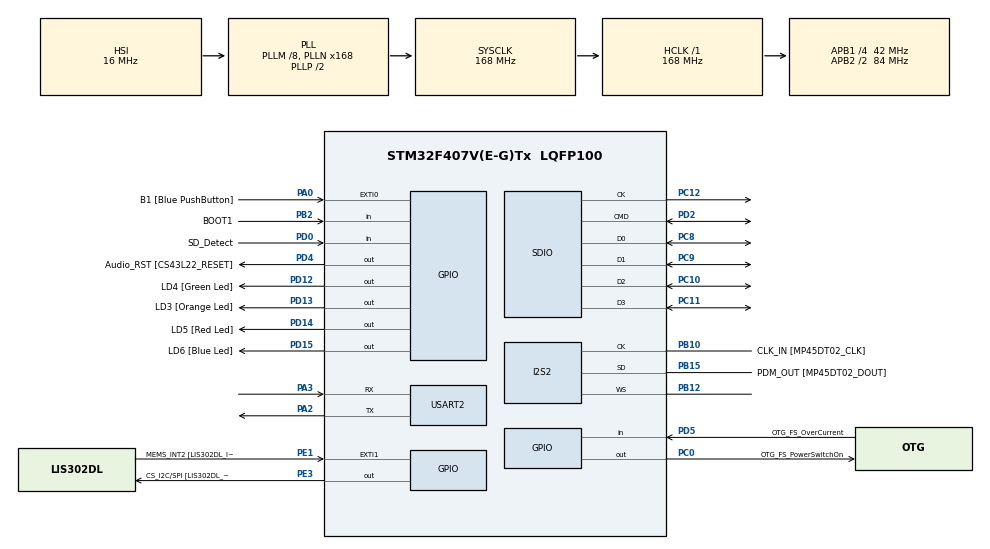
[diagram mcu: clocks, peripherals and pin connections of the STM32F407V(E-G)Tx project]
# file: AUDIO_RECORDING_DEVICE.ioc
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Dma.Request0=SPI2_RX
Dma.Request1=USART2_TX
Dma.SPI2_RX.0.Direction=DMA_PERIPH_TO_MEMORY
Dma.SPI2_RX.0.FIFOMode=DMA_FIFOMODE_DISABLE
Dma.SPI2_RX.0.Instance=DMA1_Stream3
Dma.SPI2_RX.0.MemDataAlignment=DMA_MDATAALIGN_HALFWORD
Dma.SPI2_RX.0.MemInc=DMA_MINC_ENABLE
Dma.SPI2_RX.0.Mode=DMA_CIRCULAR
Dma.SPI2_RX.0.PeriphDataAlignment=DMA_PDATAALIGN_HALFWORD
Dma.SPI2_RX.0.PeriphInc=DMA_PINC_DISABLE
Dma.SPI2_RX.0.Priority=DMA_PRIORITY_LOW
Dma.USART2_TX.1.Direction=DMA_MEMORY_TO_PERIPH
Dma.USART2_TX.1.FIFOMode=DMA_FIFOMODE_DISABLE
Dma.USART2_TX.1.Instance=DMA1_Stream6
Dma.USART2_TX.1.MemDataAlignment=DMA_MDATAALIGN_BYTE
Dma.USART2_TX.1.MemInc=DMA_MINC_ENABLE
Dma.USART2_TX.1.Mode=DMA_NORMAL
Dma.USART2_TX.1.PeriphDataAlignment=DMA_PDATAALIGN_BYTE
Dma.USART2_TX.1.PeriphInc=DMA_PINC_DISABLE
Dma.USART2_TX.1.Priority=DMA_PRIORITY_LOW
FATFS.BSP.number=1
FATFS._MAX_SS=2048
FATFS0.BSP.STBoard=false
FATFS0.BSP.api=Unknown
FATFS0.BSP.i2caddr=0
FATFS0.BSP.instance=PD0
FATFS0.BSP.ip=GPIO
FATFS0.BSP.mode=Input
FATFS0.BSP.name=Detect_SDIO
FATFS0.BSP.solution=PD0
I2S2.AudioFreq=I2S_AUDIOFREQ_32K
I2S2.DataFormat=I2S_DATAFORMAT_16B_EXTENDED
I2S2.ErrorAudioFreq=-0.26 %
I2S2.FullDuplexMode=I2S_FULLDUPLEXMODE_DISABLE
I2S2.Instance=SPI$Index
I2S2.Mode=I2S_MODE_MASTER_RX
I2S2.RealAudioFreq=31.914 KHz
I2S2.VirtualMode=I2S_MODE_MASTER
Mcu.Family=STM32F4
Mcu.Name=STM32F407V(E-G)Tx
Mcu.Package=LQFP100
NVIC.DMA1_Stream3_IRQn=true\:0\:0\:false\:false\:true\:false\:true\:true
NVIC.DMA1_Stream6_IRQn=true\:0\:0\:false\:false\:true\:false\:true\:true
NVIC.EXTI0_IRQn=true\:0\:0\:false\:false\:true\:true\:true\:true
NVIC.PriorityGroup=NVIC_PRIORITYGROUP_0
NVIC.USART2_IRQn=true\:0\:0\:false\:false\:true\:true\:true\:true
PA0-WKUP.GPIO_Label=B1 [Blue PushButton]
PA0-WKUP.Signal=GPXTI0
PA10.GPIO_Label=OTG_FS_ID
PA10.GPIO_Mode=GPIO_MODE_AF_PP
PA10.GPIO_PuPd=GPIO_NOPULL
PA10.GPIO_Speed=GPIO_SPEED_FREQ_LOW
PA10.Signal=USB_OTG_FS_ID
PA11.GPIO_Label=OTG_FS_DM
PA11.GPIO_Mode=GPIO_MODE_AF_PP
PA11.GPIO_PuPd=GPIO_NOPULL
PA11.GPIO_Speed=GPIO_SPEED_FREQ_LOW
PA11.Signal=USB_OTG_FS_DM
PA12.GPIO_Label=OTG_FS_DP
PA12.GPIO_Mode=GPIO_MODE_AF_PP
PA12.GPIO_PuPd=GPIO_NOPULL
PA12.GPIO_Speed=GPIO_SPEED_FREQ_LOW
PA12.Signal=USB_OTG_FS_DP
PA13.GPIO_Label=SWDIO
PA13.Signal=SYS_JTMS-SWDIO
PA14.GPIO_Label=SWCLK
PA14.Signal=SYS_JTCK-SWCLK
PA2.Mode=Asynchronous
PA2.Signal=USART2_TX
PA3.Mode=Asynchronous
PA3.Signal=USART2_RX
PA4.GPIO_Label=I2S3_WS [CS43L22_LRCK]
PA4.GPIO_Mode=GPIO_MODE_AF_PP
PA4.GPIO_PuPd=GPIO_NOPULL
PA4.GPIO_Speed=GPIO_SPEED_FREQ_LOW
PA4.Signal=I2S3_WS
PA5.GPIO_Label=SPI1_SCK [LIS302DL_SCL/SPC]
PA5.GPIO_Mode=GPIO_MODE_AF_PP
PA5.GPIO_PuPd=GPIO_NOPULL
PA5.GPIO_Speed=GPIO_SPEED_FREQ_LOW
PA5.Signal=SPI1_SCK
PA6.GPIO_Label=SPI1_MISO [LIS302DL_SDO]
PA6.GPIO_Mode=GPIO_MODE_AF_PP
PA6.GPIO_PuPd=GPIO_NOPULL
PA6.GPIO_Speed=GPIO_SPEED_FREQ_LOW
PA6.Signal=SPI1_MISO
PA7.GPIO_Label=SPI1_MOSI [LIS302DL_SDA/SDI/SDO]
PA7.GPIO_Mode=GPIO_MODE_AF_PP
PA7.GPIO_PuPd=GPIO_NOPULL
PA7.GPIO_Speed=GPIO_SPEED_FREQ_LOW
PA7.Signal=SPI1_MOSI
PA9.GPIO_Label=VBUS_FS
PA9.GPIO_Mode=GPIO_MODE_INPUT
PA9.GPIO_PuPd=GPIO_NOPULL
PA9.Signal=USB_OTG_FS_VBUS
PB10.GPIO_Label=CLK_IN [MP45DT02_CLK]
PB10.GPIO_Mode=GPIO_MODE_AF_PP
PB10.GPIO_PuPd=GPIO_NOPULL
PB10.GPIO_Speed=GPIO_SPEED_FREQ_LOW
PB10.Mode=Half_Duplex_Master
PB10.Signal=I2S2_CK
PB12.Mode=Half_Duplex_Master
PB12.Signal=I2S2_WS
PB15.GPIO_Label=PDM_OUT [MP45DT02_DOUT]
PB15.GPIO_Mode=GPIO_MODE_AF_PP
PB15.GPIO_PuPd=GPIO_NOPULL
PB15.GPIO_Speed=GPIO_SPEED_FREQ_LOW
PB15.Mode=Half_Duplex_Master
PB15.Signal=I2S2_SD
PB2.GPIO_Label=BOOT1
PB2.GPIO_Mode=GPIO_MODE_INPUT
PB2.GPIO_PuPd=GPIO_NOPULL
PB2.Signal=GPIO_Input
PB3.GPIO_Label=SWO
PB3.Signal=SYS_JTDO-SWO
PB6.GPIO_Label=Audio_SCL [CS43L22_SCL]
PB6.GPIO_Mode=GPIO_MODE_AF_OD
PB6.GPIO_PuPd=GPIO_NOPULL
PB6.GPIO_Speed=GPIO_SPEED_FREQ_LOW
PB6.Signal=I2C1_SCL
PB9.GPIO_Label=Audio_SDA [CS43L22_SDA]
PB9.GPIO_Mode=GPIO_MODE_AF_OD
PB9.GPIO_PuPd=GPIO_NOPULL
PB9.GPIO_Speed=GPIO_SPEED_FREQ_LOW
PB9.Signal=I2C1_SDA
PC0.GPIO_Label=OTG_FS_PowerSwitchOn
PC0.GPIO_PuPd=GPIO_NOPULL
PC0.GPIO_Speed=GPIO_SPEED_FREQ_LOW
PC0.PinState=GPIO_PIN_SET
PC0.Signal=GPIO_Output
PC10.Mode=SD_4_bits_Wide_bus
PC10.Signal=SDIO_D2
PC11.Mode=SD_4_bits_Wide_bus
PC11.Signal=SDIO_D3
PC12.Mode=SD_4_bits_Wide_bus
PC12.Signal=SDIO_CK
PC14-OSC32_IN.GPIO_Label=PC14-OSC32_IN
PC14-OSC32_IN.Signal=RCC_OSC32_IN
PC15-OSC32_OUT.GPIO_Label=PC15-OSC32_OUT
PC15-OSC32_OUT.Signal=RCC_OSC32_OUT
PC7.GPIO_Label=I2S3_MCK [CS43L22_MCLK]
PC7.GPIO_Mode=GPIO_MODE_AF_PP
PC7.GPIO_PuPd=GPIO_NOPULL
PC7.GPIO_Speed=GPIO_SPEED_FREQ_LOW
PC7.Signal=I2S3_MCK
PC8.Mode=SD_4_bits_Wide_bus
PC8.Signal=SDIO_D0
PC9.Mode=SD_4_bits_Wide_bus
PC9.Signal=SDIO_D1
PD0.GPIO_Label=SD_Detect
PD0.Signal=GPIO_Input
PD12.GPIO_Label=LD4 [Green Led]
PD12.GPIO_PuPd=GPIO_NOPULL
PD12.GPIO_Speed=GPIO_SPEED_FREQ_LOW
PD12.Signal=GPIO_Output
PD13.GPIO_Label=LD3 [Orange Led]
PD13.GPIO_PuPd=GPIO_NOPULL
PD13.GPIO_Speed=GPIO_SPEED_FREQ_LOW
PD13.Signal=GPIO_Output
PD14.GPIO_Label=LD5 [Red Led]
PD14.GPIO_PuPd=GPIO_NOPULL
PD14.GPIO_Speed=GPIO_SPEED_FREQ_LOW
PD14.Signal=GPIO_Output
PD15.GPIO_Label=LD6 [Blue Led]
PD15.GPIO_PuPd=GPIO_NOPULL
PD15.GPIO_Speed=GPIO_SPEED_FREQ_LOW
PD15.Signal=GPIO_Output
PD2.Mode=SD_4_bits_Wide_bus
PD2.Signal=SDIO_CMD
PD4.GPIO_Label=Audio_RST [CS43L22_RESET]
PD4.GPIO_PuPd=GPIO_NOPULL
PD4.GPIO_Speed=GPIO_SPEED_FREQ_LOW
PD4.Signal=GPIO_Output
PD5.GPIO_Label=OTG_FS_OverCurrent
PD5.GPIO_Mode=GPIO_MODE_INPUT
PD5.GPIO_PuPd=GPIO_NOPULL
PD5.Signal=GPIO_Input
PE1.GPIO_Label=MEMS_INT2 [LIS302DL_INT2]
PE1.GPIO_ModeDefaultEXTI=GPIO_MODE_EVT_RISING
PE1.GPIO_PuPd=GPIO_NOPULL
PE1.Signal=GPXTI1
PE3.GPIO_Label=CS_I2C/SPI [LIS302DL_CS_I2C/SPI]
PE3.GPIO_PuPd=GPIO_NOPULL
PE3.GPIO_Speed=GPIO_SPEED_FREQ_LOW
PE3.Signal=GPIO_Output
PH0-OSC_IN.GPIO_Label=PH0-OSC_IN
PH0-OSC_IN.Signal=RCC_OSC_IN
PH1-OSC_OUT.GPIO_Label=PH1-OSC_OUT
PH1-OSC_OUT.Signal=RCC_OSC_OUT
ProjectManager.HeapSize=0x2000
ProjectManager.StackSize=0x4000
ProjectManager.TargetToolchain=STM32CubeIDE
RCC.48MHZClocksFreq_Value=48000000
RCC.AHBFreq_Value=168000000
RCC.APB1CLKDivider=RCC_HCLK_DIV4
RCC.APB1Freq_Value=42000000
RCC.APB1TimFreq_Value=84000000
RCC.APB2CLKDivider=RCC_HCLK_DIV2
RCC.APB2Freq_Value=84000000
RCC.APB2TimFreq_Value=168000000
RCC.CortexFreq_Value=168000000
RCC.HCLKFreq_Value=168000000
RCC.HSE_VALUE=8000000
RCC.HSI_VALUE=16000000
RCC.LSE_VALUE=32768
RCC.PLLM=8
RCC.PLLN=168
RCC.PLLQ=7
RCC.SYSCLKFreq_VALUE=168000000
RCC.SYSCLKSource=RCC_SYSCLKSOURCE_PLLCLK
RCC.VCOOutputFreq_Value=336000000
SDIO.ClockDiv=8
STMicroelectronics.X-CUBE-ALGOBUILD.1.3.0.LibraryCcDSPOoLibraryJjDSPOoLibrary=true
USART2.VirtualMode=VM_ASYNC
VP_FATFS_VS_SDIO.Mode=SDIO
VP_STMicroelectronics.X-CUBE-ALGOBUILD_VS_DSPOoLibraryJjLibrary_1.3.0_1.3.0.Mode=DSPOoLibraryJjLibrary
board=STM32F407G-DISC1

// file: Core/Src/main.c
/* USER CODE BEGIN Header */
/**
  ******************************************************************************
  * @file           : main.c
  * @brief          : Main program body
  ******************************************************************************
  * @attention
  *
  * Copyright (c) 2022 STMicroelectronics.
  * All rights reserved.
  *
  * This software is licensed under terms that can be found in the LICENSE file
  * in the root directory of this software component.
  * If no LICENSE file comes with this software, it is provided AS-IS.
  *
  ******************************************************************************
  */
/* USER CODE END Header */
#include "main.h"
#include "fatfs.h"

/* USER CODE BEGIN Includes */
#include "stdio.h"
#include "audio_sd.h"
#include "arm_math.h"
/* USER CODE END Includes */

 I2S_HandleTypeDef hi2s2;
DMA_HandleTypeDef hdma_spi2_rx;

SD_HandleTypeDef hsd;

UART_HandleTypeDef huart2;
DMA_HandleTypeDef hdma_usart2_tx;

/* USER CODE BEGIN PV */
int16_t data_i2s[WAV_WRITE_SAMPLE_COUNT];
float32_t mic1_data1[WAV_WRITE_SAMPLE_COUNT / 4],
	mic1_data2[WAV_WRITE_SAMPLE_COUNT / 4];
float32_t data_out_fft1[WAV_WRITE_SAMPLE_COUNT / 4],
	data_out_fft2[WAV_WRITE_SAMPLE_COUNT / 4];
volatile int16_t sample_i2s;
volatile uint8_t button_flag, start_stop_recording;
volatile uint8_t  half_i2s, full_i2s;
arm_rfft_fast_instance_f32 fft_audio_instance;
/* USER CODE END PV */

void SystemClock_Config(void);
static void MX_GPIO_Init(void);
static void MX_DMA_Init(void);
static void MX_I2S2_Init(void);
static void MX_SDIO_SD_Init(void);
static void MX_USART2_UART_Init(void);

int main(void)
{
  /* USER CODE BEGIN 1 */
uint8_t uart_counter;
  /* USER CODE END 1 */

  /* MCU Configuration--------------------------------------------------------*/

  /* Reset of all peripherals, Initializes the Flash interface and the Systick. */
  HAL_Init();

  /* Configure the system clock */
  SystemClock_Config();

  /* Initialize all configured peripherals */
  MX_GPIO_Init();
  MX_DMA_Init();
  MX_I2S2_Init();
  MX_SDIO_SD_Init();
  MX_FATFS_Init();
  MX_USART2_UART_Init();
  /* USER CODE BEGIN 2 */
  HAL_I2S_DMAStop(&hi2s2);
  HAL_Delay(500);
  //	Initializing FFT. We apply FFT for the first microphone and half of the buffer.
  //	Therefore we divide by four: WAV_WRITE_SAMPLE_COUNT / 4
  arm_rfft_fast_init_f32(&fft_audio_instance, WAV_WRITE_SAMPLE_COUNT / 4);
  /* USER CODE END 2 */

  /* Infinite loop */
  /* USER CODE BEGIN WHILE */
  while (1)
  {
	  // when button is pressed
	  if(button_flag)
	  {
		  //	stop recording: stop I2S DMA
		  if(start_stop_recording)
		  {
			  HAL_I2S_DMAStop(&hi2s2);
			  start_stop_recording = 0;
			  half_i2s = 0;
			  full_i2s = 0;
			  printf("stop recording \n");
		  }

		  // start recording: start DMA
		  else
		  {
			  start_stop_recording = 1;
			  printf("start_recording");
			  HAL_I2S_Receive_DMA(&hi2s2, (uint16_t *)data_i2s, sizeof(data_i2s)/2);
		  }
		  button_flag = 0;
	  }
    /* USER CODE END WHILE */

    /* USER CODE BEGIN 3 */
	  // When half of the buffer is full
	  if(start_stop_recording == 1 && half_i2s == 1)
	  {
		  // extracting the data of the first microphone
		  for(int i = 0; i < WAV_WRITE_SAMPLE_COUNT / 4; i++ )
		  {
			  mic1_data1[i] = (float32_t)data_i2s[i * 2];
		  }
		  // apply FFT
		  arm_rfft_fast_f32(&fft_audio_instance, mic1_data1, data_out_fft1, 0);
		  // extract absolute values by computing the magnitude of the complex numbers
		  // Pay attention that after this operation, half of the buffer possesses the magnitudes
		  arm_cmplx_mag_f32(
				  data_out_fft1,
				  data_out_fft1,
				  WAV_WRITE_SAMPLE_COUNT / 8);
		  // bias removal
		  data_out_fft1[0] = 0;
		  if(full_i2s == 1)
		  {
			  printf("d \n");
		  }
		  uart_counter++;
		  //	setting ">>>>" to indicate the end of the buffer
	  	  data_out_fft1[WAV_WRITE_SAMPLE_COUNT / 8] = ('>'<<24|'>'<<16|'>'<<8|'>');

	  if (uart_counter == 30)
		  {
			  printf("uart start\n");
			  uart_counter = 0;
			  //	sending only half of the buffer
			  HAL_UART_Transmit_DMA(&huart2, (uint8_t *)&data_out_fft1, sizeof(data_out_fft1) / 2 + 4);
		  }
		  half_i2s = 0;
	  }

	  //	THe buffer is full
	  if(start_stop_recording == 1 && full_i2s == 1)
	  {
		  // extracting the data of the first microphone
		  for(int i = 0; i < WAV_WRITE_SAMPLE_COUNT / 4; i++ )
		  {
			  mic1_data2[i] = (float32_t)data_i2s[i * 2 +
												WAV_WRITE_SAMPLE_COUNT / 2];
		  }
		  // applying FFT
		  arm_rfft_fast_f32(&fft_audio_instance, mic1_data2, data_out_fft2, 0);
		  // extract absolute values by computing the magnitude of the complex numbers
		  // Pay attention that after this operation, half of the buffer possesses the magnitudes
		  arm_cmplx_mag_f32(
				  data_out_fft2,
				  data_out_fft2,
				  WAV_WRITE_SAMPLE_COUNT / 8);
		  // bias removal
		  data_out_fft2[0] = 0;
		  if(half_i2s == 1)
		  {
			  printf("d \n");
		  }
		  full_i2s = 0;
	  }
  }
  /* USER CODE END 3 */
}

void SystemClock_Config(void)
{
  RCC_OscInitTypeDef RCC_OscInitStruct = {0};
  RCC_ClkInitTypeDef RCC_ClkInitStruct = {0};

  /** Configure the main internal regulator output voltage
  */
  __HAL_RCC_PWR_CLK_ENABLE();
  __HAL_PWR_VOLTAGESCALING_CONFIG(PWR_REGULATOR_VOLTAGE_SCALE1);

  /** Initializes the RCC Oscillators according to the specified parameters
  * in the RCC_OscInitTypeDef structure.
  */
  RCC_OscInitStruct.OscillatorType = RCC_OSCILLATORTYPE_HSI;
  RCC_OscInitStruct.HSIState = RCC_HSI_ON;
  RCC_OscInitStruct.HSICalibrationValue = RCC_HSICALIBRATION_DEFAULT;
  RCC_OscInitStruct.PLL.PLLState = RCC_PLL_ON;
  RCC_OscInitStruct.PLL.PLLSource = RCC_PLLSOURCE_HSI;
  RCC_OscInitStruct.PLL.PLLM = 8;
  RCC_OscInitStruct.PLL.PLLN = 168;
  RCC_OscInitStruct.PLL.PLLP = RCC_PLLP_DIV2;
  RCC_OscInitStruct.PLL.PLLQ = 7;
  if (HAL_RCC_OscConfig(&RCC_OscInitStruct) != HAL_OK)
  {
    Error_Handler();
  }

  /** Initializes the CPU, AHB and APB buses clocks
  */
  RCC_ClkInitStruct.ClockType = RCC_CLOCKTYPE_HCLK|RCC_CLOCKTYPE_SYSCLK
                              |RCC_CLOCKTYPE_PCLK1|RCC_CLOCKTYPE_PCLK2;
  RCC_ClkInitStruct.SYSCLKSource = RCC_SYSCLKSOURCE_PLLCLK;
  RCC_ClkInitStruct.AHBCLKDivider = RCC_SYSCLK_DIV1;
  RCC_ClkInitStruct.APB1CLKDivider = RCC_HCLK_DIV4;
  RCC_ClkInitStruct.APB2CLKDivider = RCC_HCLK_DIV2;

  if (HAL_RCC_ClockConfig(&RCC_ClkInitStruct, FLASH_LATENCY_5) != HAL_OK)
  {
    Error_Handler();
  }
}

static void MX_I2S2_Init(void)
{

  hi2s2.Instance = SPI2;
  hi2s2.Init.Mode = I2S_MODE_MASTER_RX;
  hi2s2.Init.Standard = I2S_STANDARD_PHILIPS;
  hi2s2.Init.DataFormat = I2S_DATAFORMAT_16B_EXTENDED;
  hi2s2.Init.MCLKOutput = I2S_MCLKOUTPUT_DISABLE;
  hi2s2.Init.AudioFreq = I2S_AUDIOFREQ_32K;
  hi2s2.Init.CPOL = I2S_CPOL_LOW;
  hi2s2.Init.ClockSource = I2S_CLOCK_PLL;
  hi2s2.Init.FullDuplexMode = I2S_FULLDUPLEXMODE_DISABLE;
  if (HAL_I2S_Init(&hi2s2) != HAL_OK)
  {
    Error_Handler();
  }

}

static void MX_SDIO_SD_Init(void)
{

  hsd.Instance = SDIO;
  hsd.Init.ClockEdge = SDIO_CLOCK_EDGE_RISING;
  hsd.Init.ClockBypass = SDIO_CLOCK_BYPASS_DISABLE;
  hsd.Init.ClockPowerSave = SDIO_CLOCK_POWER_SAVE_DISABLE;
  hsd.Init.BusWide = SDIO_BUS_WIDE_1B;
  hsd.Init.HardwareFlowControl = SDIO_HARDWARE_FLOW_CONTROL_DISABLE;
  hsd.Init.ClockDiv = 8;

}

static void MX_USART2_UART_Init(void)
{

  huart2.Instance = USART2;
  huart2.Init.BaudRate = 115200;
  huart2.Init.WordLength = UART_WORDLENGTH_8B;
  huart2.Init.StopBits = UART_STOPBITS_1;
  huart2.Init.Parity = UART_PARITY_NONE;
  huart2.Init.Mode = UART_MODE_TX_RX;
  huart2.Init.HwFlowCtl = UART_HWCONTROL_NONE;
  huart2.Init.OverSampling = UART_OVERSAMPLING_16;
  if (HAL_UART_Init(&huart2) != HAL_OK)
  {
    Error_Handler();
  }

}

static void MX_DMA_Init(void)
{

  /* DMA controller clock enable */
  __HAL_RCC_DMA1_CLK_ENABLE();

  /* DMA interrupt init */
  /* DMA1_Stream3_IRQn interrupt configuration */
  HAL_NVIC_SetPriority(DMA1_Stream3_IRQn, 0, 0);
  HAL_NVIC_EnableIRQ(DMA1_Stream3_IRQn);
  /* DMA1_Stream6_IRQn interrupt configuration */
  HAL_NVIC_SetPriority(DMA1_Stream6_IRQn, 0, 0);
  HAL_NVIC_EnableIRQ(DMA1_Stream6_IRQn);

}

static void MX_GPIO_Init(void)
{
  GPIO_InitTypeDef GPIO_InitStruct = {0};

  /* GPIO Ports Clock Enable */
  __HAL_RCC_GPIOE_CLK_ENABLE();
  __HAL_RCC_GPIOC_CLK_ENABLE();
  __HAL_RCC_GPIOH_CLK_ENABLE();
  __HAL_RCC_GPIOA_CLK_ENABLE();
  __HAL_RCC_GPIOB_CLK_ENABLE();
  __HAL_RCC_GPIOD_CLK_ENABLE();

  /*Configure GPIO pin Output Level */
  HAL_GPIO_WritePin(CS_I2C_SPI_GPIO_Port, CS_I2C_SPI_Pin, GPIO_PIN_RESET);

  /*Configure GPIO pin Output Level */
  HAL_GPIO_WritePin(OTG_FS_PowerSwitchOn_GPIO_Port, OTG_FS_PowerSwitchOn_Pin, GPIO_PIN_SET);

  /*Configure GPIO pin Output Level */
  HAL_GPIO_WritePin(GPIOD, LD4_Pin|LD3_Pin|LD5_Pin|LD6_Pin
                          |Audio_RST_Pin, GPIO_PIN_RESET);

  /*Configure GPIO pin : CS_I2C_SPI_Pin */
  GPIO_InitStruct.Pin = CS_I2C_SPI_Pin;
  GPIO_InitStruct.Mode = GPIO_MODE_OUTPUT_PP;
  GPIO_InitStruct.Pull = GPIO_NOPULL;
  GPIO_InitStruct.Speed = GPIO_SPEED_FREQ_LOW;
  HAL_GPIO_Init(CS_I2C_SPI_GPIO_Port, &GPIO_InitStruct);

  /*Configure GPIO pin : OTG_FS_PowerSwitchOn_Pin */
  GPIO_InitStruct.Pin = OTG_FS_PowerSwitchOn_Pin;
  GPIO_InitStruct.Mode = GPIO_MODE_OUTPUT_PP;
  GPIO_InitStruct.Pull = GPIO_NOPULL;
  GPIO_InitStruct.Speed = GPIO_SPEED_FREQ_LOW;
  HAL_GPIO_Init(OTG_FS_PowerSwitchOn_GPIO_Port, &GPIO_InitStruct);

  /*Configure GPIO pin : B1_Pin */
  GPIO_InitStruct.Pin = B1_Pin;
  GPIO_InitStruct.Mode = GPIO_MODE_IT_RISING;
  GPIO_InitStruct.Pull = GPIO_NOPULL;
  HAL_GPIO_Init(B1_GPIO_Port, &GPIO_InitStruct);

  /*Configure GPIO pin : I2S3_WS_Pin */
  GPIO_InitStruct.Pin = I2S3_WS_Pin;
  GPIO_InitStruct.Mode = GPIO_MODE_AF_PP;
  GPIO_InitStruct.Pull = GPIO_NOPULL;
  GPIO_InitStruct.Speed = GPIO_SPEED_FREQ_LOW;
  GPIO_InitStruct.Alternate = GPIO_AF6_SPI3;
  HAL_GPIO_Init(I2S3_WS_GPIO_Port, &GPIO_InitStruct);

  /*Configure GPIO pins : SPI1_SCK_Pin SPI1_MISO_Pin SPI1_MOSI_Pin */
  GPIO_InitStruct.Pin = SPI1_SCK_Pin|SPI1_MISO_Pin|SPI1_MOSI_Pin;
  GPIO_InitStruct.Mode = GPIO_MODE_AF_PP;
  GPIO_InitStruct.Pull = GPIO_NOPULL;
  GPIO_InitStruct.Speed = GPIO_SPEED_FREQ_LOW;
  GPIO_InitStruct.Alternate = GPIO_AF5_SPI1;
  HAL_GPIO_Init(GPIOA, &GPIO_InitStruct);

  /*Configure GPIO pin : BOOT1_Pin */
  GPIO_InitStruct.Pin = BOOT1_Pin;
  GPIO_InitStruct.Mode = GPIO_MODE_INPUT;
  GPIO_InitStruct.Pull = GPIO_NOPULL;
  HAL_GPIO_Init(BOOT1_GPIO_Port, &GPIO_InitStruct);

  /*Configure GPIO pins : LD4_Pin LD3_Pin LD5_Pin LD6_Pin
                           Audio_RST_Pin */
  GPIO_InitStruct.Pin = LD4_Pin|LD3_Pin|LD5_Pin|LD6_Pin
                          |Audio_RST_Pin;
  GPIO_InitStruct.Mode = GPIO_MODE_OUTPUT_PP;
  GPIO_InitStruct.Pull = GPIO_NOPULL;
  GPIO_InitStruct.Speed = GPIO_SPEED_FREQ_LOW;
  HAL_GPIO_Init(GPIOD, &GPIO_InitStruct);

  /*Configure GPIO pin : I2S3_MCK_Pin */
  GPIO_InitStruct.Pin = I2S3_MCK_Pin;
  GPIO_InitStruct.Mode = GPIO_MODE_AF_PP;
  GPIO_InitStruct.Pull = GPIO_NOPULL;
  GPIO_InitStruct.Speed = GPIO_SPEED_FREQ_LOW;
  GPIO_InitStruct.Alternate = GPIO_AF6_SPI3;
  HAL_GPIO_Init(I2S3_MCK_GPIO_Port, &GPIO_InitStruct);

  /*Configure GPIO pin : VBUS_FS_Pin */
  GPIO_InitStruct.Pin = VBUS_FS_Pin;
  GPIO_InitStruct.Mode = GPIO_MODE_INPUT;
  GPIO_InitStruct.Pull = GPIO_NOPULL;
  HAL_GPIO_Init(VBUS_FS_GPIO_Port, &GPIO_InitStruct);

  /*Configure GPIO pins : OTG_FS_ID_Pin OTG_FS_DM_Pin OTG_FS_DP_Pin */
  GPIO_InitStruct.Pin = OTG_FS_ID_Pin|OTG_FS_DM_Pin|OTG_FS_DP_Pin;
  GPIO_InitStruct.Mode = GPIO_MODE_AF_PP;
  GPIO_InitStruct.Pull = GPIO_NOPULL;
  GPIO_InitStruct.Speed = GPIO_SPEED_FREQ_LOW;
  GPIO_InitStruct.Alternate = GPIO_AF10_OTG_FS;
  HAL_GPIO_Init(GPIOA, &GPIO_InitStruct);

  /*Configure GPIO pins : SD_Detect_Pin OTG_FS_OverCurrent_Pin */
  GPIO_InitStruct.Pin = SD_Detect_Pin|OTG_FS_OverCurrent_Pin;
  GPIO_InitStruct.Mode = GPIO_MODE_INPUT;
  GPIO_InitStruct.Pull = GPIO_NOPULL;
  HAL_GPIO_Init(GPIOD, &GPIO_InitStruct);

  /*Configure GPIO pins : Audio_SCL_Pin Audio_SDA_Pin */
  GPIO_InitStruct.Pin = Audio_SCL_Pin|Audio_SDA_Pin;
  GPIO_InitStruct.Mode = GPIO_MODE_AF_OD;
  GPIO_InitStruct.Pull = GPIO_NOPULL;
  GPIO_InitStruct.Speed = GPIO_SPEED_FREQ_LOW;
  GPIO_InitStruct.Alternate = GPIO_AF4_I2C1;
  HAL_GPIO_Init(GPIOB, &GPIO_InitStruct);

  /*Configure GPIO pin : MEMS_INT2_Pin */
  GPIO_InitStruct.Pin = MEMS_INT2_Pin;
  GPIO_InitStruct.Mode = GPIO_MODE_EVT_RISING;
  GPIO_InitStruct.Pull = GPIO_NOPULL;
  HAL_GPIO_Init(MEMS_INT2_GPIO_Port, &GPIO_InitStruct);

  /* EXTI interrupt init*/
  HAL_NVIC_SetPriority(EXTI0_IRQn, 0, 0);
  HAL_NVIC_EnableIRQ(EXTI0_IRQn);

}

/* USER CODE BEGIN 4 */
int _write(int file, char *ptr, int len)
{
	int DataIdx;

	for (DataIdx = 0; DataIdx < len; DataIdx++)
	{
		ITM_SendChar(*ptr++);
	}
	return len;
}
//	l,r,l,r,l,
void HAL_I2S_RxCpltCallback(I2S_HandleTypeDef *hi2s)
{

	full_i2s = 1;
}
void HAL_I2S_RxHalfCpltCallback(I2S_HandleTypeDef *hi2s)
{
	//sample_i2s = data_i2s[0];
	half_i2s = 1;
}

void HAL_GPIO_EXTI_Callback(uint16_t GPIO_Pin)
{
	if(GPIO_Pin == B1_Pin)
	{
		button_flag = 1;
	}
}

void HAL_UART_TxCpltCallback(UART_HandleTypeDef *huart)
{
	printf("uart over \n");
}
/* USER CODE END 4 */

void Error_Handler(void)
{
  __disable_irq();
  while (1)
  {
  }
}
